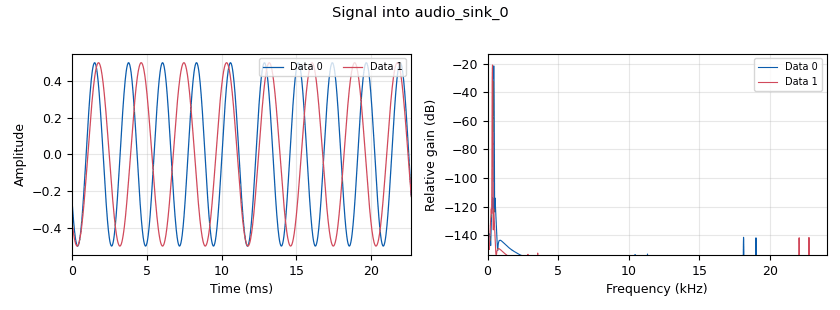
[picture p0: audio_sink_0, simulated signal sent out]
options:
  parameters:
    generate_options: qt_gui
    id: top_block
    output_language: python
  states: {}

blocks:
- name: freq1
  id: variable
  parameters:
    value: '440'
  states: {}
- name: freq2
  id: variable
  parameters:
    value: '350'
  states: {}
- name: samp_rate
  id: variable
  parameters:
    value: '48000'
  states: {}
- name: analog_sig_source_x_0
  id: analog_sig_source_x
  parameters:
    amp: '0.5'
    freq: freq1
    offset: '0'
    phase: '0'
    samp_rate: samp_rate
    type: float
    waveform: analog.GR_COS_WAVE
  states: {}
- name: analog_sig_source_x_0_0
  id: analog_sig_source_x
  parameters:
    amp: '0.5'
    freq: freq2
    offset: '0'
    phase: '0'
    samp_rate: samp_rate
    type: float
    waveform: analog.GR_COS_WAVE
  states: {}
- name: audio_sink_0
  id: audio_sink
  parameters:
    num_inputs: '2'
    samp_rate: samp_rate
  states: {}

connections:
- [analog_sig_source_x_0, '0', audio_sink_0, '0']
- [analog_sig_source_x_0_0, '0', audio_sink_0, '1']

metadata:
  file_format: 1
